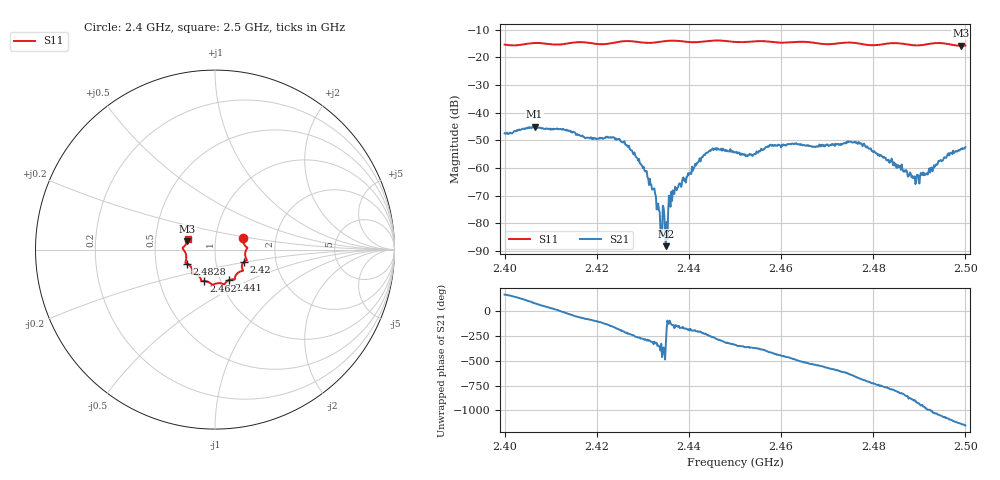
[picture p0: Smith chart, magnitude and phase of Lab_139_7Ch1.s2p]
# Hz S RI R 50
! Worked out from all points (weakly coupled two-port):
!   601 points, 2.4 GHz to 2.5 GHz, reference 50 ohm
!   highest |S21| = -45.07 dB at 2.4065 GHz (marker M1); lowest = -88.3 dB at 2.435 GHz (marker M2)
!   lowest |S11| = -15.8 dB at 2.499 GHz (marker M3), VSWR 1.38, Z = 36.5 + j3.47 ohm
!   |S11| at or under -10 dB: start of sweep to end of sweep
!   S12 and S22 are empty: the file has one direction only
!   S11 on the Smith chart (normalised r, x): 2.4 GHz: 1.36, +0.18; 2.42 GHz: 1.36, -0.20; 2.441 GHz: 1.10, -0.39; 2.462 GHz: 0.84, -0.30; 2.4828 GHz: 0.72, -0.12; 2.5 GHz: 0.73, +0.09
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2.4e9  0.1571 0.0631  -0.00406 0.00111  0 0  0 0
2.4065e9  0.1805 0.0111  0.00117 0.00546  0 0  0 0
2.416667e9  0.1778 -0.0599  0.00146 -0.00343  0 0  0 0
2.42e9  0.1596 -0.0696  -0.000854 -0.00319  0 0  0 0
2.423333e9  0.1503 -0.1005  -0.00321 -0.00153  0 0  0 0
2.427167e9  0.1559 -0.1184  -0.00132 0.00173  0 0  0 0
2.430667e9  0.13 -0.1282  0.000292 0.000829  0 0  0 0
2.433333e9  0.1124 -0.1509  0.000219 5.31e-05  0 0  0 0
2.435e9  0.1105 -0.1626  3e-05 2.4e-05  0 0  0 0
2.436667e9  0.1094 -0.1671  -0.000263 -0.000212  0 0  0 0
2.441e9  0.0787 -0.1697  -0.000915 0.000283  0 0  0 0
2.445333e9  0.0525 -0.1937  -0.000169 0.00209  0 0  0 0
2.45e9  0.0286 -0.1871  0.00178 0.000653  0 0  0 0
2.454e9  -0.00689 -0.1937  0.0017 -0.000395  0 0  0 0
2.462e9  -0.0601 -0.1756  -0.00101 -0.0025  0 0  0 0
2.466667e9  -0.0778 -0.1682  -0.00244 -0.000328  0 0  0 0
2.4765e9  -0.1256 -0.1281  0.00172 0.00219  0 0  0 0
2.482833e9  -0.1577 -0.0775  0.000941 -0.00101  0 0  0 0
2.483333e9  -0.1607 -0.0761  0.000754 -0.00119  0 0  0 0
2.489667e9  -0.1615 -0.028  -0.00066 0.000339  0 0  0 0
2.499e9  -0.1545 0.0463  0.00129 -0.00178  0 0  0 0
2.5e9  -0.1516 0.0611  0.000731 -0.00226  0 0  0 0
